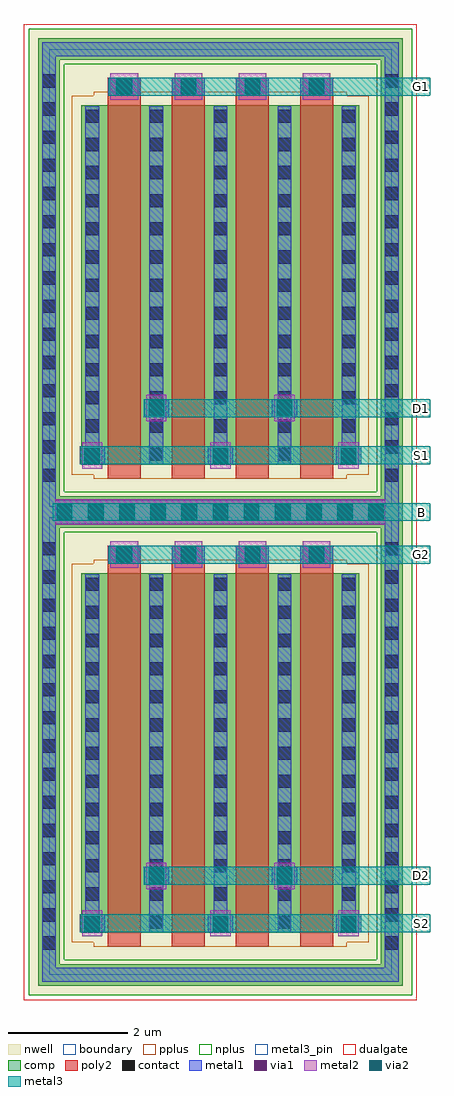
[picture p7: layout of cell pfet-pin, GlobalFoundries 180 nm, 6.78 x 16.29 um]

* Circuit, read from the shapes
.subckt pfet-pin B D1 D2 G1 G2 S1 S2
XM1 D2 G2 S2 B pfet_06v0 w=6u l=0.55u m=4
XM2 D1 G1 S1 B pfet_06v0 w=6u l=0.55u m=4
.ends

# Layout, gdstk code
import gdstk
lib = gdstk.Library(unit=1e-6, precision=1e-09)
def R(c, l, rs):  # rectangles x0, y0, x1, y1
    for r in rs: c.add(gdstk.rectangle(r[:2], r[2:], *l))
def A(c, l, x, y, w, h, nx, ny, dx, dy):  # array of equal rectangles
    R(c, l, [(x+i*dx, y+j*dy, x+i*dx+w, y+j*dy+h) for i in range(nx) for j in range(ny)])
boundary = (0, 0)
nwell = (21, 0)
comp = (22, 0)
poly2 = (30, 0)
pplus = (31, 0)
nplus = (32, 0)
contact = (33, 0)
metal1 = (34, 0)
via1 = (35, 0)
metal2 = (36, 0)
via2 = (38, 0)
metal3 = (42, 0)
metal3_pin = (42, 10)
dualgate = (55, 0)

pfet_06v0_zxy25q = lib.new_cell('pfet_06v0_ZXY25Q')
R(pfet_06v0_zxy25q, boundary, [(-2.86,-3.82,2.86,3.82)])
R(pfet_06v0_zxy25q, nwell, [(-3.2,-4.16,3.2,4.16)])
R(pfet_06v0_zxy25q, comp, [(-3.04,-4,3.04,-3.64), (-3.04,-3.64,-2.68,3.64), (2.68,-3.64,3.04,3.64), (-2.32,-3.12,2.32,2.88), (-3.04,3.64,3.04,4)])
A(pfet_06v0_zxy25q, poly2, -1.88, -3.34, 0.55, 6.68, 4, 1, 1.07, 0)
R(pfet_06v0_zxy25q, pplus, [(-2.11,-3.35,2.11,-3.28), (-2.48,-3.28,2.48,3.04), (-2.11,3.04,2.11,3.11)])
R(pfet_06v0_zxy25q, nplus, [(-3.2,-4.16,3.2,-3.57), (-3.2,-3.57,-2.61,3.57), (2.61,-3.57,3.2,3.57), (-3.2,3.57,3.2,4.16)])
A(pfet_06v0_zxy25q, contact, -2.97, -3.4, 0.22, 0.22, 1, 15, 0, 0.47)
A(pfet_06v0_zxy25q, contact, 2.75, -3.4, 0.22, 0.22, 1, 15, 0, 0.47)
A(pfet_06v0_zxy25q, contact, -2.25, -3.05, 0.22, 0.22, 5, 13, 1.07, 0.47)
A(pfet_06v0_zxy25q, contact, -1.715, 3.05, 0.22, 0.22, 4, 1, 1.07, 0)
A(pfet_06v0_zxy25q, metal1, -2.255, -3.11, 0.23, 5.98, 5, 1, 1.07, 0)
A(pfet_06v0_zxy25q, metal1, -1.87, 3.045, 0.53, 0.23, 4, 1, 1.07, 0)
R(pfet_06v0_zxy25q, metal1, [(-2.975,-3.935,2.975,-3.705), (-2.975,-3.705,-2.745,3.705), (2.745,-3.705,2.975,3.705), (-2.975,3.705,2.975,3.935)])
R(pfet_06v0_zxy25q, dualgate, [(-3.28,-4.24,3.28,4.24)])

pfet_pin = lib.new_cell('pfet-pin')
A(pfet_pin, metal1, 0.51, -19.1, 0.42, 0.3, 3, 2, 2.14, 7.81)
A(pfet_pin, metal1, 0.605, -18.8, 0.23, 5.68, 3, 1, 2.14, 0)
A(pfet_pin, metal1, 0.985, -12.945, 0.54, 0.3, 4, 2, 1.07, 7.81)
R(pfet_pin, metal1, [(1.675,-19.1,1.905,-18.31), (3.815,-19.1,4.045,-18.31), (1.58,-18.31,2,-18.01), (3.72,-18.31,4.14,-18.01), (1.675,-18.01,1.905,-13.12), (3.815,-18.01,4.045,-13.12), (0.065,-12.235,5.655,-11.935), (1.58,-10.5,2,-10.2), (3.72,-10.5,4.14,-10.2)])
A(pfet_pin, via1, 0.59, -19.08, 0.26, 0.26, 3, 2, 2.14, 7.81)
A(pfet_pin, via1, 1.125, -12.925, 0.26, 0.26, 4, 2, 1.07, 7.81)
A(pfet_pin, via1, 0.13, -12.215, 0.26, 0.26, 11, 1, 0.52, 0)
R(pfet_pin, via1, [(1.66,-18.29,1.92,-18.03), (3.8,-18.29,4.06,-18.03), (1.66,-10.48,1.92,-10.22), (3.8,-10.48,4.06,-10.22)])
A(pfet_pin, metal2, 0.55, -19.17, 0.34, 0.44, 3, 2, 2.14, 7.81)
A(pfet_pin, metal2, 1.025, -13.015, 0.46, 0.44, 4, 2, 1.07, 7.81)
R(pfet_pin, metal2, [(1.62,-18.38,1.96,-17.94), (3.76,-18.38,4.1,-17.94), (0.105,-12.295,5.615,-11.875), (1.62,-10.57,1.96,-10.13), (3.76,-10.57,4.1,-10.13)])
A(pfet_pin, via2, 0.59, -19.08, 0.26, 0.26, 3, 2, 2.14, 7.81)
A(pfet_pin, via2, 1.125, -12.925, 0.26, 0.26, 4, 2, 1.07, 7.81)
A(pfet_pin, via2, 0.13, -12.215, 0.26, 0.26, 11, 1, 0.52, 0)
R(pfet_pin, via2, [(1.66,-18.29,1.92,-18.03), (3.8,-18.29,4.06,-18.03), (1.66,-10.48,1.92,-10.22), (3.8,-10.48,4.06,-10.22)])
R(pfet_pin, metal3, [(0.52,-19.1,6.36,-18.8), (1.59,-18.31,6.36,-18.01), (0.995,-12.945,6.36,-12.645), (0.065,-12.235,6.36,-11.935), (0.52,-11.29,6.36,-10.99), (1.59,-10.5,6.36,-10.2), (0.995,-5.135,6.36,-4.835)])
R(pfet_pin, metal3_pin, [(6.06,-19.1,6.36,-18.8), (6.06,-18.31,6.36,-18.01), (6.06,-12.945,6.36,-12.645), (6.06,-12.235,6.36,-11.935), (6.06,-11.29,6.36,-10.99), (6.06,-10.5,6.36,-10.2), (6.06,-5.135,6.36,-4.835)])
pfet_pin.add(gdstk.Reference(pfet_06v0_zxy25q, (2.86,-15.99)))
pfet_pin.add(gdstk.Reference(pfet_06v0_zxy25q, (2.86,-8.18)))
pfet_pin.add(gdstk.Label('G1', (6.21,-4.985), layer=42, texttype=10))
pfet_pin.add(gdstk.Label('D1', (6.21,-10.35), layer=42, texttype=10))
pfet_pin.add(gdstk.Label('S1', (6.21,-11.14), layer=42, texttype=10))
pfet_pin.add(gdstk.Label('G2', (6.21,-12.795), layer=42, texttype=10))
pfet_pin.add(gdstk.Label('D2', (6.21,-18.16), layer=42, texttype=10))
pfet_pin.add(gdstk.Label('S2', (6.21,-18.95), layer=42, texttype=10))
pfet_pin.add(gdstk.Label('B', (6.21,-12.085), layer=42, texttype=10))

lib.write_gds('pfet-pin.gds')
